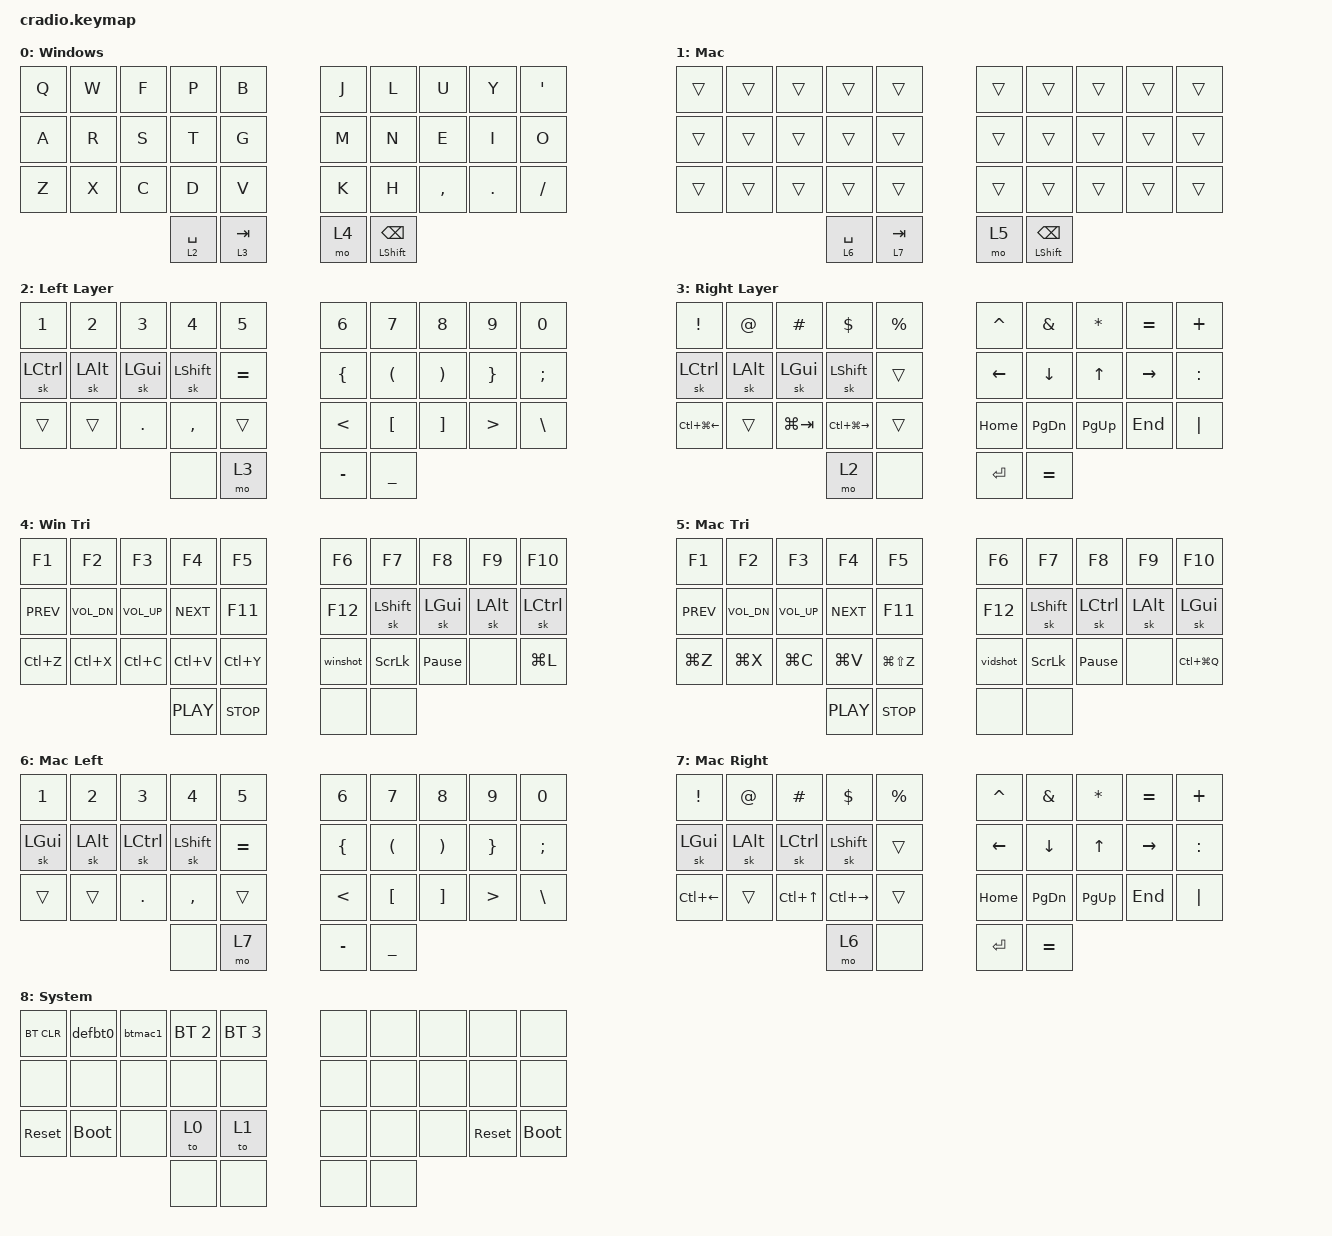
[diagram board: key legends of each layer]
// Copyright (c) 2022 The ZMK Contributors
// SPDX-License-Identifier: MIT

#include <behaviors.dtsi>
#include <dt-bindings/zmk/bt.h>
#include <dt-bindings/zmk/keys.h>

&mt {
    flavor = "balanced";
    quick-tap-ms = <200>;
};

/ {
    behaviors {
        ht: hold_tap {
            compatible = "zmk,behavior-hold-tap";
            #binding-cells = <2>;
            flavor = "tap-preferred";
            tapping-term-ms = <220>;
            quick-tap-ms = <150>;
            require-prior-idle-ms = <100>;
            bindings = <&kp>, <&kp>;
        };

        vidshot: vidshot {
            compatible = "zmk,behavior-mod-morph";
            label = "VIDSHOT";
            bindings = <&kp LG(LS(NUMBER_4))>, <&kp LG(LS(N5))>;

            #binding-cells = <0>;
            mods = <(MOD_LCTL|MOD_LSFT|MOD_LALT|MOD_LGUI|MOD_RSFT)>;
        };

        winshot: winshot {
            compatible = "zmk,behavior-mod-morph";
            label = "WINSHOT";
            bindings = <&kp LG(LS(S))>, <&kp PRINTSCREEN>;

            #binding-cells = <0>;
            mods = <(MOD_LSFT|MOD_RSFT)>;
        };
    };

    conditional_layers {
        compatible = "zmk,conditional-layers";

        win_system {
            if-layers = <2 3>;
            then-layer = <8>;
        };

        mac_system {
            if-layers = <6 7>;
            then-layer = <8>;
        };
    };

    combos {
        compatible = "zmk,combos";

        enter {
            bindings = <&kp ENTER>;
            key-positions = <33 16>;
            layers = <0 1>;
        };

        backspace {
            bindings = <&kp LC(BACKSPACE)>;
            key-positions = <8 9>;
            layers = <0>;
        };

        delete {
            bindings = <&kp DELETE>;
            key-positions = <8 9>;
            layers = <2 3 4 5 6 7>;
        };

        escape {
            bindings = <&kp ESCAPE>;
            key-positions = <1 0>;
            layers = <0 1>;
        };

        nosticky {
            bindings = <&kp F24>;
            key-positions = <33 30>;
        };

        capsword {
            bindings = <&caps_word>;
            key-positions = <13 16>;
            require-prior-idle-ms = <500>;
        };

        sh_enter {
            bindings = <&kp LS(ENTER)>;
            key-positions = <16 32>;
            layers = <0 1>;
        };

        MACDEL {
            bindings = <&kp LA(BACKSPACE)>;
            key-positions = <8 9>;
            layers = <1>;
        };

        grave {
            bindings = <&kp GRAVE>;
            key-positions = <0 1>;
            layers = <2 6>;
        };

        tilde {
            bindings = <&kp TILDE>;
            key-positions = <0 1>;
            layers = <3 7>;
        };
    };

    macros {
        defbt0: defbt0 {
            compatible = "zmk,behavior-macro";
            #binding-cells = <0>;
            bindings = <&bt BT_SEL 0 &to 0>;
            label = "DEFBT0";
        };

        btmac1: btmac1 {
            compatible = "zmk,behavior-macro";
            #binding-cells = <0>;
            bindings = <&bt BT_SEL 1 &to 1>;
            label = "BTMAC1";
        };
    };

    keymap {
        compatible = "zmk,keymap";

        Win-Def {
            display-name = "Windows";
            bindings = <
&kp Q  &kp W  &kp F  &kp P        &kp B        &kp J  &kp L                &kp U      &kp Y    &kp APOS
&kp A  &kp R  &kp S  &kp T        &kp G        &kp M  &kp N                &kp E      &kp I    &kp O
&kp Z  &kp X  &kp C  &kp D        &kp V        &kp K  &kp H                &kp COMMA  &kp DOT  &kp FSLH
                     &lt 2 SPACE  &lt 3 TAB    &mo 4  &mt LEFT_SHIFT BSPC
            >;
        };

        Mac-Def {
            display-name = "Mac";
            bindings = <
&trans  &trans  &trans  &trans       &trans       &trans  &trans  &trans  &trans  &trans
&trans  &trans  &trans  &trans       &trans       &trans  &trans  &trans  &trans  &trans
&trans  &trans  &trans  &trans       &trans       &trans  &trans  &trans  &trans  &trans
                        &lt 6 SPACE  &lt 7 TAB    &mo 5   &mt LEFT_SHIFT BACKSPACE
            >;
        };

        left_layer {
            display-name = "Left Layer";
            bindings = <
&kp N1            &kp N2        &kp N3        &kp N4          &kp N5     &kp N6          &kp N7                &kp N8                 &kp N9            &kp N0
&sk LEFT_CONTROL  &sk LEFT_ALT  &sk LEFT_GUI  &sk LEFT_SHIFT  &kp EQUAL  &kp LEFT_BRACE  &kp LEFT_PARENTHESIS  &kp RIGHT_PARENTHESIS  &kp RIGHT_BRACE   &kp SEMICOLON
&trans            &trans        &kp DOT       &kp COMMA       &trans     &kp LESS_THAN   &kp LBKT              &kp RBKT               &kp GREATER_THAN  &kp BACKSLASH
                                              &none           &mo 3      &kp MINUS       &kp UNDERSCORE
            >;
        };

        right_layer {
            display-name = "Right Layer";
            bindings = <
&kp EXCLAMATION   &kp AT_SIGN   &kp HASH      &kp DOLLAR         &kp PERCENT  &kp CARET  &kp AMPERSAND  &kp ASTERISK  &kp EQUAL  &kp PLUS
&sk LEFT_CONTROL  &sk LEFT_ALT  &sk LEFT_GUI  &sk LEFT_SHIFT     &trans       &kp LEFT   &kp DOWN       &kp UP        &kp RIGHT  &kp COLON
&kp LC(LG(LEFT))  &trans        &kp LG(TAB)   &kp LC(LG(RIGHT))  &trans       &kp HOME   &kp PAGE_DOWN  &kp PAGE_UP   &kp END    &kp PIPE
                                              &mo 2              &none        &kp ENTER  &kp EQUAL
            >;
        };

        win_tri {
            display-name = "Win Tri";
            bindings = <
&kp F1      &kp F2        &kp F3        &kp F4      &kp F5      &kp F6    &kp F7          &kp F8           &kp F9        &kp F10
&kp C_PREV  &kp C_VOL_DN  &kp C_VOL_UP  &kp C_NEXT  &kp F11     &kp F12   &sk LEFT_SHIFT  &sk LEFT_GUI     &sk LEFT_ALT  &sk LEFT_CONTROL
&kp LC(Z)   &kp LC(X)     &kp LC(C)     &kp LC(V)   &kp LC(Y)   &winshot  &kp SCROLLLOCK  &kp PAUSE_BREAK  &none         &kp LG(L)
                                        &kp C_PLAY  &kp C_STOP  &none     &none
            >;
        };

        mac_tri {
            display-name = "Mac Tri";
            bindings = <
&kp F1      &kp F2        &kp F3        &kp F4      &kp F5         &kp F6    &kp F7          &kp F8            &kp F9        &kp F10
&kp C_PREV  &kp C_VOL_DN  &kp C_VOL_UP  &kp C_NEXT  &kp F11        &kp F12   &sk LEFT_SHIFT  &sk LEFT_CONTROL  &sk LEFT_ALT  &sk LEFT_GUI
&kp LG(Z)   &kp LG(X)     &kp LG(C)     &kp LG(V)   &kp LG(LS(Z))  &vidshot  &kp SCROLLLOCK  &kp PAUSE_BREAK   &none         &kp LC(LG(Q))
                                        &kp C_PLAY  &kp C_STOP     &none     &none
            >;
        };

        mac_left {
            display-name = "Mac Left";
            bindings = <
&kp N1        &kp N2        &kp N3            &kp N4          &kp N5     &kp N6          &kp N7                &kp N8                 &kp N9            &kp N0
&sk LEFT_GUI  &sk LEFT_ALT  &sk LEFT_CONTROL  &sk LEFT_SHIFT  &kp EQUAL  &kp LEFT_BRACE  &kp LEFT_PARENTHESIS  &kp RIGHT_PARENTHESIS  &kp RIGHT_BRACE   &kp SEMICOLON
&trans        &trans        &kp DOT           &kp COMMA       &trans     &kp LESS_THAN   &kp LBKT              &kp RBKT               &kp GREATER_THAN  &kp BACKSLASH
                                              &none           &mo 7      &kp MINUS       &kp UNDERSCORE
            >;
        };

        mac_right {
            display-name = "Mac Right";
            bindings = <
&kp EXCLAMATION  &kp AT_SIGN   &kp HASH          &kp DOLLAR      &kp PERCENT  &kp CARET  &kp AMPERSAND  &kp ASTERISK  &kp EQUAL  &kp PLUS
&sk LEFT_GUI     &sk LEFT_ALT  &sk LEFT_CONTROL  &sk LEFT_SHIFT  &trans       &kp LEFT   &kp DOWN       &kp UP        &kp RIGHT  &kp COLON
&kp LC(LEFT)     &trans        &kp LC(UP)        &kp LC(RIGHT)   &trans       &kp HOME   &kp PAGE_DOWN  &kp PAGE_UP   &kp END    &kp PIPE
                                                 &mo 6           &none        &kp ENTER  &kp EQUAL
            >;
        };

        system {
            display-name = "System";
            bindings = <
&bt BT_CLR  &defbt0      &btmac1  &bt BT_SEL 2  &bt BT_SEL 3  &none  &none  &none  &none       &none
&none       &none        &none    &none         &none         &none  &none  &none  &none       &none
&sys_reset  &bootloader  &none    &to 0         &to 1         &none  &none  &none  &sys_reset  &bootloader
                                  &none         &none         &none  &none
            >;
        };
    };
};
